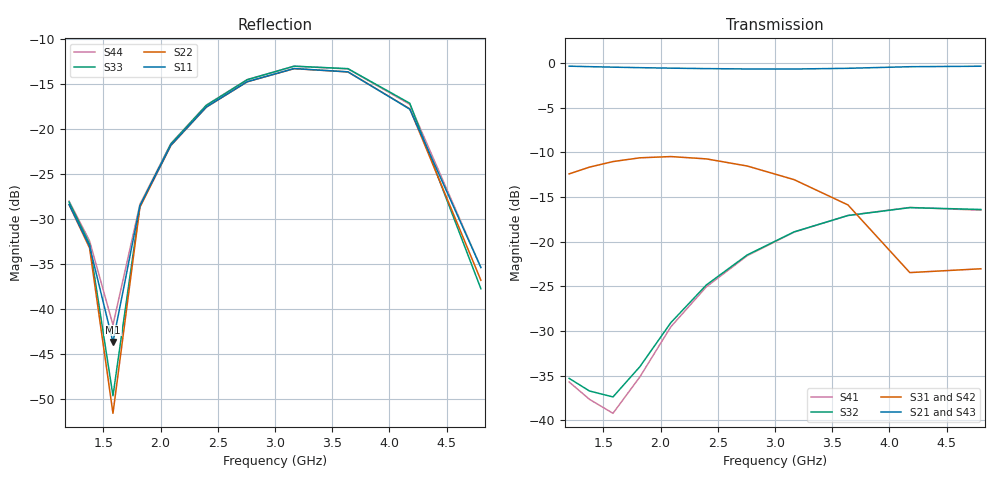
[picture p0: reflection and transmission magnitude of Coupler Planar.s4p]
! Generated by circuitRF - EM: Full-wave planar
! circuitRF-EM setup: Coupler Planar
! circuitRF-EM layout: Coupler/layout/Coupler.clay
! circuitRF-EM written: 2026-11-15 23:13:42Z
! circuitRF-EM stamp: 20261115T231342Z-0afe6003
! circuitRF-EM geometry: 2c54cba0b30a8779
! circuitRF-EM mesh settings: 80db87fcbd6e2d85
! circuitRF-EM ports: 8874f91ae077070c
! circuitRF-EM mesh unknowns: 5874
! circuitRF-EM model: grounded-edge-port-2026-10-14
! Port[1] = 1
! Port[2] = 2
! Port[3] = 3
! Port[4] = 4
! circuitRF-EM port 1: '1' at (0, -515.6015 mil), edge, de-embedded, 50 Ohm
! circuitRF-EM port 2: '2' at (0, 515.6015 mil), edge, de-embedded, 50 Ohm
! circuitRF-EM port 3: '3' at (708.7975, -515.6015 mil), edge, de-embedded, 50 Ohm
! circuitRF-EM port 4: '4' at (708.7975, 515.6015 mil), edge, de-embedded, 50 Ohm
! circuitRF-EM: port N of this file is the label named on the 'port N' line above. A circuit that composes this result binds its nets in that order; two ports of a reciprocal part swapped gives a plausible curve of a different structure.
! Port 1 = P01  1  net=n1  ref=ground  calibrated
! Port 2 = P02  2  net=n2  ref=ground  calibrated
! Port 3 = P03  3  net=n3  ref=ground  calibrated
! Port 4 = P04  4  net=n4  ref=ground  calibrated
! DC: none, the lowest row is 1.2 GHz; a circuit's DC solve through this file takes that row as DC
! circuitRF-EM: re-running the EM setup rewrites this file. If circuitRF reports it as stale, the layout's cross-section changed after this file was written.
# GHz S RI R 50
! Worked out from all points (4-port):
!   11 points, 1.2 GHz to 4.8 GHz, reference 50 ohm
!   strongest paths, dB at 1.2 GHz, 1.583 GHz, 2.4 GHz, 3.638 GHz, 4.8 GHz:
!     S21: -0.3, -0.4, -0.6, -0.6, -0.3
!     S43: -0.3, -0.4, -0.6, -0.6, -0.3
!     S31: -12.4, -11.0, -10.7, -15.9, -23.0
!     S42: -12.4, -11.0, -10.7, -15.9, -23.1
!     S32: -35.3, -37.4, -24.8, -17.1, -16.4
!     S41: -35.7, -39.2, -25.1, -17.1, -16.5
!   lowest |S11| = -43.6 dB at 1.583 GHz (marker M1), VSWR 1.01, Z = 49.4 - j0.285 ohm
!   |S11| at or under -10 dB: start of sweep to end of sweep
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1.2  0.0364 -0.0114  -0.1385 -0.9531  0.2373 -0.0353  -0.0121 0.0111
     -0.1385 -0.9531  0.0372 -0.00705  -0.0136 0.0104  0.2373 -0.035
     0.2373 -0.0353  -0.0136 0.0104  0.0388 -0.00595  -0.1405 -0.9527
     -0.0121 0.0111  0.2373 -0.035  -0.1405 -0.9527  0.0375 -0.0131
1.583409  -0.0059 -0.00288  -0.5983 -0.7392  0.2185 -0.177  -0.00915 0.00596
          -0.5983 -0.7392  -0.00155 0.00214  -0.0115 0.0071  0.2189 -0.1766
          0.2185 -0.177  -0.0115 0.0071  0.000114 0.00331  -0.6003 -0.7375
          -0.00915 0.00596  0.2189 -0.1766  -0.6003 -0.7375  -0.00669 -0.0047
1.81886  -0.0254 0.0276  -0.7992 -0.5039  0.158 -0.2494  -0.0169 0.00443
         -0.7992 -0.5039  -0.0186 0.0317  -0.0187 0.007  0.1585 -0.249
         0.158 -0.2494  -0.0187 0.007  -0.0169 0.0332  -0.8008 -0.5012
         -0.0169 0.00443  0.1585 -0.249  -0.8008 -0.5012  -0.0272 0.0268
2.756876  0.1049 0.1496  -0.6872 0.6251  -0.1674 -0.2062  0.00406 0.0833
          -0.6872 0.6251  0.1133 0.143  0.00838 0.0839  -0.1666 -0.2068
          -0.1674 -0.2062  0.00838 0.0839  0.1183 0.1453  -0.6831 0.628
          0.00406 0.0833  -0.1666 -0.2068  -0.6831 0.628  0.1081 0.1533
3.63772  0.2014 -0.0485  0.3523 0.8683  -0.158 0.0296  0.1394 -0.0168
         0.3523 0.8683  0.1997 -0.0543  0.1387 -0.0203  -0.1587 0.0288
         -0.158 0.0296  0.1387 -0.0203  0.2083 -0.0565  0.3562 0.8647
         0.1394 -0.0168  -0.1587 0.0288  0.3562 0.8647  0.2079 -0.0547
4.178643  0.0677 -0.1093  0.874 0.3884  -0.0463 0.0486  0.0717 -0.1382
          0.874 0.3884  0.0694 -0.1089  0.0702 -0.1384  -0.0469 0.0491
          -0.0463 0.0486  0.0702 -0.1384  0.0766 -0.1156  0.8749 0.3833
          0.0717 -0.1382  -0.0469 0.0491  0.8749 0.3833  0.0665 -0.1195
4.8  -0.00128 0.017  0.8487 -0.4539  -0.0338 -0.0619  -0.0715 -0.132
     0.8487 -0.4539  0.0103 0.0101  -0.0709 -0.134  -0.0325 -0.0616
     -0.0338 -0.0619  -0.0709 -0.134  0.0128 0.0019  0.8457 -0.4594
     -0.0715 -0.132  -0.0325 -0.0616  0.8457 -0.4594  -0.00937 0.0143
